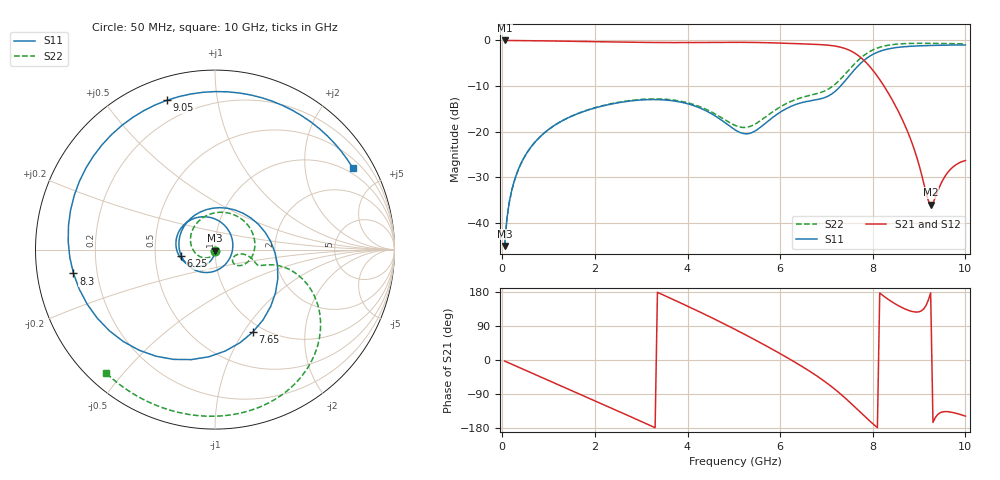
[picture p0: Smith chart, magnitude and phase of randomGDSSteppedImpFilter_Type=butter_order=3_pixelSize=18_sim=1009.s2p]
! freq	dB(S11)	phase(S11)	dB(S12)	phase(S12)
!  dB(S21)	phase(S21)	dB(S22)	phase(S22)
!S-par simulation data
#  GHz  S  DB  R 50
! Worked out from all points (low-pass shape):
!   200 points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, 50 MHz to 10 GHz, reference 50 ohm
!   highest |S21| = -0.01 dB at 50 MHz (marker M1); lowest = -36.0 dB at 9.25 GHz (marker M2)
!   |S21| within 3 dB of the highest: start of sweep to 7.644 GHz
!   lowest |S11| = -45.0 dB at 50 MHz (marker M3), VSWR 1.01, Z = 50 - j0.559 ohm
!   |S11| at or under -10 dB: start of sweep to 7.304 GHz
!   |S22| runs from -45.1 to -0.6 dB; largest |S21 - S12| = 0
!   S11 on the Smith chart (normalised r, x): 50 MHz: 1.00, -0.01; 6.25 GHz: 0.68, -0.05; 7.65 GHz: 0.89, -1.10; 8.3 GHz: 0.11, -0.08; 9.05 GHz: 0.10, +0.72; 10 GHz: 0.78, +3.49
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0.05  -45.05 -91.0  -0.01 -2.8  -0.01 -2.8  -45.08 -93.1
0.2  -33.01 -96.9  -0.03 -10.9  -0.03 -10.9  -33.05 -105.0
0.5  -25.14 -107.4  -0.05 -27.1  -0.05 -27.1  -25.18 -127.7
1.15  -18.46 -129.3  -0.13 -62.1  -0.13 -62.1  -18.47 -176.6
1.75  -15.60 -148.8  -0.23 -94.4  -0.23 -94.4  -15.55 138.1
2.65  -13.42 -179.4  -0.38 -143.0  -0.38 -143.0  -13.32 71.8
3.4  -12.99 149.4  -0.46 175.8  -0.46 175.8  -12.83 21.6
4.35  -15.17 93.0  -0.45 121.8  -0.45 121.8  -14.87 -27.6
5.05  -19.73 15.4  -0.41 79.3  -0.41 79.3  -18.71 -32.5
5.7  -18.00 -98.2  -0.50 37.1  -0.50 37.1  -16.65 -9.4
6.25  -14.38 -169.5  -0.67 -0.8  -0.67 -0.8  -13.29 -14.6
6.7  -13.14 128.1  -0.84 -34.6  -0.84 -34.6  -11.90 -20.0
7.2  -11.05 30.0  -1.26 -79.0  -1.26 -79.0  -9.48 -14.7
7.45  -8.28 -24.9  -1.96 -105.4  -1.96 -105.4  -6.86 -15.8
7.65  -5.92 -65.4  -3.05 -128.4  -3.05 -128.4  -4.69 -22.9
7.95  -3.36 -119.0  -5.90 -162.7  -5.90 -162.7  -2.35 -40.3
8.3  -1.94 -170.4  -10.93 162.9  -10.93 162.9  -1.11 -61.7
8.35  -1.83 -176.9  -11.78 158.6  -11.78 158.6  -1.02 -64.6
8.65  -1.41 147.8  -17.61 137.2  -17.61 137.2  -0.72 -80.0
9.05  -1.17 107.8  -29.20 129.7  -29.20 129.7  -0.63 -97.2
9.25  -1.11 89.9  -35.96 177.1  -35.96 177.1  -0.64 -105.0
10  -0.99 30.6  -26.33 -148.0  -26.33 -148.0  -0.75 -131.4
